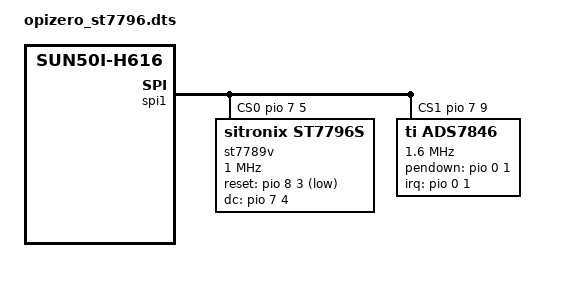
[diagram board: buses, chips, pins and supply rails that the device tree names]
/dts-v1/;
/plugin/;

/ {
    compatible = "allwinner,sun50i-h616";

	fragment@0 {
		target = <&spi1>;
		__overlay__ {
			num-cs = <2>;
			/* CS0 PA10  CS1 PA13 */
            cs-gpios = <&pio 7 5 0>,<&pio 7 9 0>; /*PH5=CS0 PH9=CS1*/
			status = "okay";
			#address-cells = <1>;
			#size-cells = <0>;

			st7789v: st7789v@0{
				compatible = "sitronix,st7796s";
				/* CS 0 */
                reg = <0>;
				spi-max-frequency = <1000000>;
				rotation = <90>;
				fps = <30>;
				buswidth = <8>;
				reset-gpios = <&pio 8 3 1>; /* PI3 */
				dc-gpios = <&pio 7 4 0>; /* PH4 */
				debug = <1>;
			};

			ads7846: ads7846@0 {
				compatible = "ti,ads7846";
				/* CS1 */
                reg = <1>; 
				status = "okay";
				spi-max-frequency = <1600000>;
				interrupt-parent = <&pio>;
                interrupts = <0 1 2>; /* PA1 IRQ_TYPE_EDGE_FALLING */
                pendown-gpio = <&pio 0 1 0>; /* PA1 */

				/* driver defaults, optional */
				ti,x-min = /bits/ 16 <0>;
				ti,y-min = /bits/ 16 <0>;
				ti,x-max = /bits/ 16 <0x0FFF>;
				ti,y-max = /bits/ 16 <0x0FFF>;
				ti,pressure-min = /bits/ 16 <0>;
				ti,pressure-max = /bits/ 16 <0xFFFF>;
				ti,x-plate-ohms = /bits/ 16 <400>;
		};

		};
	};


};
